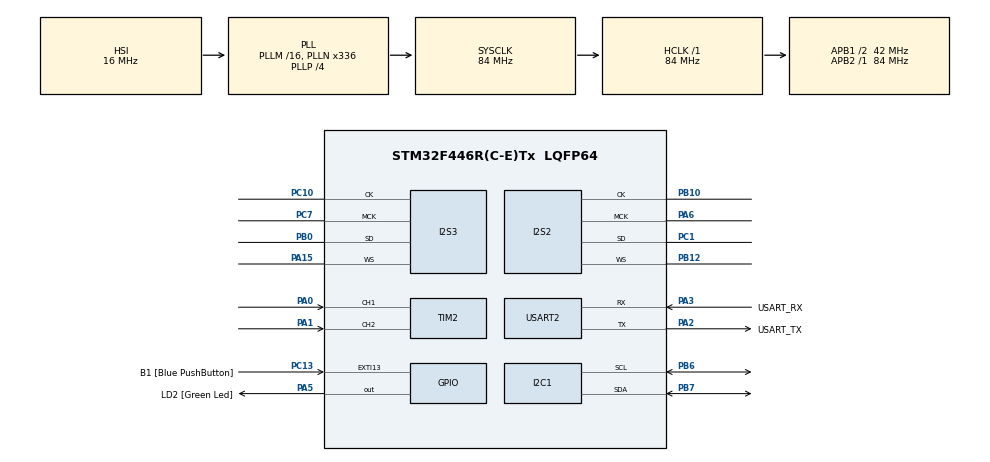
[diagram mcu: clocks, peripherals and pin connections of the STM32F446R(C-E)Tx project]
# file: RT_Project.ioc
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Dma.Request0=SPI2_RX
Dma.Request1=SPI3_TX
Dma.SPI2_RX.0.Direction=DMA_PERIPH_TO_MEMORY
Dma.SPI2_RX.0.FIFOMode=DMA_FIFOMODE_DISABLE
Dma.SPI2_RX.0.Instance=DMA1_Stream3
Dma.SPI2_RX.0.MemDataAlignment=DMA_MDATAALIGN_HALFWORD
Dma.SPI2_RX.0.MemInc=DMA_MINC_ENABLE
Dma.SPI2_RX.0.Mode=DMA_CIRCULAR
Dma.SPI2_RX.0.PeriphDataAlignment=DMA_PDATAALIGN_HALFWORD
Dma.SPI2_RX.0.PeriphInc=DMA_PINC_DISABLE
Dma.SPI2_RX.0.Priority=DMA_PRIORITY_LOW
Dma.SPI3_TX.1.Direction=DMA_MEMORY_TO_PERIPH
Dma.SPI3_TX.1.FIFOMode=DMA_FIFOMODE_DISABLE
Dma.SPI3_TX.1.Instance=DMA1_Stream5
Dma.SPI3_TX.1.MemDataAlignment=DMA_MDATAALIGN_HALFWORD
Dma.SPI3_TX.1.MemInc=DMA_MINC_ENABLE
Dma.SPI3_TX.1.Mode=DMA_CIRCULAR
Dma.SPI3_TX.1.PeriphDataAlignment=DMA_PDATAALIGN_HALFWORD
Dma.SPI3_TX.1.PeriphInc=DMA_PINC_DISABLE
Dma.SPI3_TX.1.Priority=DMA_PRIORITY_LOW
FREERTOS.BinarySemaphores01=myBinarySemHalf,Dynamic,NULL,Available;myBinarySemFull,Dynamic,NULL,Available
FREERTOS.Queues01=menuQueue,32,int,0,Dynamic,NULL,NULL
FREERTOS.Tasks01=defaultTask,24,128,StartDefaultTask,Default,NULL,Dynamic,NULL,NULL;printLCD_Task,24,128,StartTask02,Default,NULL,Dynamic,NULL,NULL;menu_Task,40,128,Start_Menu_Task,Default,NULL,Dynamic,NULL,NULL;Audio_Task,48,128,StartAudioTask,Default,NULL,Dynamic,NULL,NULL
FREERTOS.configENABLE_FPU=1
FREERTOS.configUSE_NEWLIB_REENTRANT=1
I2S2.AudioFreq=I2S_AUDIOFREQ_48K
I2S2.ErrorAudioFreq=-0.01 %
I2S2.FullDuplexMode=I2S_FULLDUPLEXMODE_DISABLE
I2S2.Instance=SPI$Index
I2S2.Mode=I2S_MODE_MASTER_RX
I2S2.RealAudioFreq=47.991 KHz
I2S2.VirtualMode=I2S_MODE_MASTER
I2S3.AudioFreq=I2S_AUDIOFREQ_48K
I2S3.ErrorAudioFreq=-0.01 %
I2S3.FullDuplexMode=I2S_FULLDUPLEXMODE_DISABLE
I2S3.Instance=SPI$Index
I2S3.RealAudioFreq=47.991 KHz
I2S3.VirtualMode=I2S_MODE_MASTER
Mcu.Family=STM32F4
Mcu.Name=STM32F446R(C-E)Tx
Mcu.Package=LQFP64
NVIC.DMA1_Stream3_IRQn=true\:5\:0\:false\:false\:true\:true\:false\:true\:true
NVIC.DMA1_Stream5_IRQn=true\:5\:0\:false\:false\:true\:true\:false\:true\:true
NVIC.EXTI15_10_IRQn=true\:5\:0\:false\:false\:true\:true\:true\:true\:true
NVIC.PriorityGroup=NVIC_PRIORITYGROUP_4
NVIC.TIM7_IRQn=true\:15\:0\:false\:false\:true\:false\:false\:true\:true
NVIC.TimeBase=TIM7_IRQn
NVIC.TimeBaseIP=TIM7
PA0-WKUP.GPIO_PuPd=GPIO_PULLUP
PA0-WKUP.Signal=S_TIM2_CH1_ETR
PA1.GPIO_PuPd=GPIO_PULLUP
PA1.Signal=S_TIM2_CH2
PA13.GPIO_Label=TMS
PA13.Mode=Serial_Wire
PA13.Signal=SYS_JTMS-SWDIO
PA14.GPIO_Label=TCK
PA14.Mode=Serial_Wire
PA14.Signal=SYS_JTCK-SWCLK
PA15.Mode=Half_Duplex_Master
PA15.Signal=I2S3_WS
PA2.GPIO_Label=USART_TX
PA2.Mode=Asynchronous
PA2.Signal=USART2_TX
PA3.GPIO_Label=USART_RX
PA3.Mode=Asynchronous
PA3.Signal=USART2_RX
PA5.GPIO_Label=LD2 [Green Led]
PA5.Signal=GPIO_Output
PA6.Mode=Master_Clock_Activated
PA6.Signal=I2S2_MCK
PB0.Mode=Half_Duplex_Master
PB0.Signal=I2S3_SD
PB10.Mode=Half_Duplex_Master
PB10.Signal=I2S2_CK
PB12.Mode=Half_Duplex_Master
PB12.Signal=I2S2_WS
PB3.GPIO_Label=SWO
PB3.Signal=SYS_JTDO-SWO
PB6.GPIO_Pu=GPIO_PULLUP
PB6.Mode=I2C
PB6.Signal=I2C1_SCL
PB7.GPIO_Pu=GPIO_PULLUP
PB7.Mode=I2C
PB7.Signal=I2C1_SDA
PC1.Mode=Half_Duplex_Master
PC1.Signal=I2S2_SD
PC10.Mode=Half_Duplex_Master
PC10.Signal=I2S3_CK
PC13.GPIO_Label=B1 [Blue PushButton]
PC13.GPIO_ModeDefaultEXTI=GPIO_MODE_IT_FALLING
PC13.Signal=GPXTI13
PC14-OSC32_IN.Mode=LSE-External-Oscillator
PC14-OSC32_IN.Signal=RCC_OSC32_IN
PC15-OSC32_OUT.Mode=LSE-External-Oscillator
PC15-OSC32_OUT.Signal=RCC_OSC32_OUT
PC7.Mode=Master_Clock_Activated
PC7.Signal=I2S3_MCK
PH0-OSC_IN.Mode=HSE-External-Oscillator
PH0-OSC_IN.Signal=RCC_OSC_IN
PH1-OSC_OUT.Mode=HSE-External-Oscillator
PH1-OSC_OUT.Signal=RCC_OSC_OUT
ProjectManager.HeapSize=0x200
ProjectManager.StackSize=0x400
ProjectManager.TargetToolchain=Makefile
RCC.48MHZClocksFreq_Value=84000000
RCC.AHBFreq_Value=84000000
RCC.APB1CLKDivider=RCC_HCLK_DIV2
RCC.APB1Freq_Value=42000000
RCC.APB1TimFreq_Value=84000000
RCC.APB2Freq_Value=84000000
RCC.APB2TimFreq_Value=84000000
RCC.CortexFreq_Value=84000000
RCC.FLatency-AdvancedSettings=FLASH_LATENCY_2
RCC.HCLKFreq_Value=84000000
RCC.HSE_VALUE=8000000
RCC.HSI_VALUE=16000000
RCC.PLLI2SN=430
RCC.PLLI2SR=5
RCC.PLLN=336
RCC.PLLP=RCC_PLLP_DIV4
RCC.SYSCLKFreq_VALUE=84000000
RCC.SYSCLKSource=RCC_SYSCLKSOURCE_PLLCLK
RCC.USBFreq_Value=168000000
RCC.VCOOutputFreq_Value=336000000
SH.S_TIM2_CH1_ETR.0=TIM2_CH1,Encoder_Interface
SH.S_TIM2_CH2.0=TIM2_CH2,Encoder_Interface
TIM2.EncoderMode=TIM_ENCODERMODE_TI12
USART2.VirtualMode=VM_ASYNC
VP_FREERTOS_VS_CMSIS_V2.Mode=CMSIS_V2
VP_SYS_VS_tim7.Mode=TIM7
board=NUCLEO-F446RE

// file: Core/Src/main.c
/* USER CODE BEGIN Header */
/**
  ******************************************************************************
  * @file           : main.c
  * @brief          : Main program body
  ******************************************************************************
  * @attention
  *
  * Copyright (c) 2025 STMicroelectronics.
  * All rights reserved.
  *
  * This software is licensed under terms that can be found in the LICENSE file
  * in the root directory of this software component.
  * If no LICENSE file comes with this software, it is provided AS-IS.
  *
  ******************************************************************************
  */
/* USER CODE END Header */
#include "main.h"
#include "cmsis_os.h"

/* USER CODE BEGIN Includes */
#include "lcd_st7032i.h"
#include <stdio.h>
#include "arm_math.h"

/* USER CODE END Includes */

/* USER CODE BEGIN PD */
#define NB_ETATS 2
#define BUFFER_SIZE 256
/* USER CODE END PD */

I2C_HandleTypeDef hi2c1;

I2S_HandleTypeDef hi2s2;
I2S_HandleTypeDef hi2s3;
DMA_HandleTypeDef hdma_spi2_rx;
DMA_HandleTypeDef hdma_spi3_tx;

TIM_HandleTypeDef htim2;

UART_HandleTypeDef huart2;

/* Definitions for defaultTask */
osThreadId_t defaultTaskHandle;
const osThreadAttr_t defaultTask_attributes = {
  .name = "defaultTask",
  .stack_size = 128 * 4,
  .priority = (osPriority_t) osPriorityNormal,
};
/* Definitions for printLCD_Task */
osThreadId_t printLCD_TaskHandle;
const osThreadAttr_t printLCD_Task_attributes = {
  .name = "printLCD_Task",
  .stack_size = 128 * 4,
  .priority = (osPriority_t) osPriorityNormal,
};
/* Definitions for menu_Task */
osThreadId_t menu_TaskHandle;
const osThreadAttr_t menu_Task_attributes = {
  .name = "menu_Task",
  .stack_size = 128 * 4,
  .priority = (osPriority_t) osPriorityHigh,
};
/* Definitions for Audio_Task */
osThreadId_t Audio_TaskHandle;
const osThreadAttr_t Audio_Task_attributes = {
  .name = "Audio_Task",
  .stack_size = 128 * 4,
  .priority = (osPriority_t) osPriorityRealtime,
};
/* Definitions for menuQueue */
osMessageQueueId_t menuQueueHandle;
const osMessageQueueAttr_t menuQueue_attributes = {
  .name = "menuQueue"
};
/* Definitions for myBinarySemHalf */
osSemaphoreId_t myBinarySemHalfHandle;
const osSemaphoreAttr_t myBinarySemHalf_attributes = {
  .name = "myBinarySemHalf"
};
/* Definitions for myBinarySemFull */
osSemaphoreId_t myBinarySemFullHandle;
const osSemaphoreAttr_t myBinarySemFull_attributes = {
  .name = "myBinarySemFull"
};
/* USER CODE BEGIN PV */
int16_t rxBuffer[BUFFER_SIZE];
int16_t txBuffer[BUFFER_SIZE];
int volume_level = 0;

/* USER CODE END PV */

void SystemClock_Config(void);
void PeriphCommonClock_Config(void);
static void MX_GPIO_Init(void);
static void MX_DMA_Init(void);
static void MX_I2C1_Init(void);
static void MX_USART2_UART_Init(void);
static void MX_TIM2_Init(void);
static void MX_I2S2_Init(void);
static void MX_I2S3_Init(void);
void StartDefaultTask(void *argument);
void StartTask02(void *argument);
void Start_Menu_Task(void *argument);
void StartAudioTask(void *argument);

int main(void)
{

  /* MCU Configuration--------------------------------------------------------*/

  /* Reset of all peripherals, Initializes the Flash interface and the Systick. */
  HAL_Init();

  /* Configure the system clock */
  SystemClock_Config();

  /* Configure the peripherals common clocks */
  PeriphCommonClock_Config();

  /* Initialize all configured peripherals */
  MX_GPIO_Init();
  MX_DMA_Init();
  MX_I2C1_Init();
  MX_USART2_UART_Init();
  MX_TIM2_Init();
  MX_I2S2_Init();
  MX_I2S3_Init();

  /* Init scheduler */
  osKernelInitialize();

  /* Create the semaphores(s) */
  /* creation of myBinarySemHalf */
  myBinarySemHalfHandle = osSemaphoreNew(1, 0, &myBinarySemHalf_attributes);

  /* creation of myBinarySemFull */
  myBinarySemFullHandle = osSemaphoreNew(1, 0, &myBinarySemFull_attributes);

  /* Create the queue(s) */
  /* creation of menuQueue */
  menuQueueHandle = osMessageQueueNew (32, sizeof(int), &menuQueue_attributes);

  /* Create the thread(s) */
  /* creation of defaultTask */
  defaultTaskHandle = osThreadNew(StartDefaultTask, NULL, &defaultTask_attributes);

  /* creation of printLCD_Task */
  printLCD_TaskHandle = osThreadNew(StartTask02, NULL, &printLCD_Task_attributes);

  /* creation of menu_Task */
  menu_TaskHandle = osThreadNew(Start_Menu_Task, NULL, &menu_Task_attributes);

  /* creation of Audio_Task */
  Audio_TaskHandle = osThreadNew(StartAudioTask, NULL, &Audio_Task_attributes);

  /* Start scheduler */
  osKernelStart();

  /* We should never get here as control is now taken by the scheduler */

  /* Infinite loop */
  while (1)
  {

  }
}

void SystemClock_Config(void)
{
  RCC_OscInitTypeDef RCC_OscInitStruct = {0};
  RCC_ClkInitTypeDef RCC_ClkInitStruct = {0};

  /** Configure the main internal regulator output voltage
  */
  __HAL_RCC_PWR_CLK_ENABLE();
  __HAL_PWR_VOLTAGESCALING_CONFIG(PWR_REGULATOR_VOLTAGE_SCALE3);

  /** Initializes the RCC Oscillators according to the specified parameters
  * in the RCC_OscInitTypeDef structure.
  */
  RCC_OscInitStruct.OscillatorType = RCC_OSCILLATORTYPE_HSI;
  RCC_OscInitStruct.HSIState = RCC_HSI_ON;
  RCC_OscInitStruct.HSICalibrationValue = RCC_HSICALIBRATION_DEFAULT;
  RCC_OscInitStruct.PLL.PLLState = RCC_PLL_ON;
  RCC_OscInitStruct.PLL.PLLSource = RCC_PLLSOURCE_HSI;
  RCC_OscInitStruct.PLL.PLLM = 16;
  RCC_OscInitStruct.PLL.PLLN = 336;
  RCC_OscInitStruct.PLL.PLLP = RCC_PLLP_DIV4;
  RCC_OscInitStruct.PLL.PLLQ = 2;
  RCC_OscInitStruct.PLL.PLLR = 2;
  if (HAL_RCC_OscConfig(&RCC_OscInitStruct) != HAL_OK)
  {
    Error_Handler();
  }

  /** Initializes the CPU, AHB and APB buses clocks
  */
  RCC_ClkInitStruct.ClockType = RCC_CLOCKTYPE_HCLK|RCC_CLOCKTYPE_SYSCLK
                              |RCC_CLOCKTYPE_PCLK1|RCC_CLOCKTYPE_PCLK2;
  RCC_ClkInitStruct.SYSCLKSource = RCC_SYSCLKSOURCE_PLLCLK;
  RCC_ClkInitStruct.AHBCLKDivider = RCC_SYSCLK_DIV1;
  RCC_ClkInitStruct.APB1CLKDivider = RCC_HCLK_DIV2;
  RCC_ClkInitStruct.APB2CLKDivider = RCC_HCLK_DIV1;

  if (HAL_RCC_ClockConfig(&RCC_ClkInitStruct, FLASH_LATENCY_2) != HAL_OK)
  {
    Error_Handler();
  }
}

void PeriphCommonClock_Config(void)
{
  RCC_PeriphCLKInitTypeDef PeriphClkInitStruct = {0};

  /** Initializes the peripherals clock
  */
  PeriphClkInitStruct.PeriphClockSelection = RCC_PERIPHCLK_I2S_APB1;
  PeriphClkInitStruct.PLLI2S.PLLI2SN = 430;
  PeriphClkInitStruct.PLLI2S.PLLI2SP = RCC_PLLI2SP_DIV2;
  PeriphClkInitStruct.PLLI2S.PLLI2SM = 16;
  PeriphClkInitStruct.PLLI2S.PLLI2SR = 5;
  PeriphClkInitStruct.PLLI2S.PLLI2SQ = 2;
  PeriphClkInitStruct.PLLI2SDivQ = 1;
  PeriphClkInitStruct.I2sApb1ClockSelection = RCC_I2SAPB1CLKSOURCE_PLLI2S;
  if (HAL_RCCEx_PeriphCLKConfig(&PeriphClkInitStruct) != HAL_OK)
  {
    Error_Handler();
  }
}

static void MX_I2C1_Init(void)
{

  hi2c1.Instance = I2C1;
  hi2c1.Init.ClockSpeed = 100000;
  hi2c1.Init.DutyCycle = I2C_DUTYCYCLE_2;
  hi2c1.Init.OwnAddress1 = 0;
  hi2c1.Init.AddressingMode = I2C_ADDRESSINGMODE_7BIT;
  hi2c1.Init.DualAddressMode = I2C_DUALADDRESS_DISABLE;
  hi2c1.Init.OwnAddress2 = 0;
  hi2c1.Init.GeneralCallMode = I2C_GENERALCALL_DISABLE;
  hi2c1.Init.NoStretchMode = I2C_NOSTRETCH_DISABLE;
  if (HAL_I2C_Init(&hi2c1) != HAL_OK)
  {
    Error_Handler();
  }

}

static void MX_I2S2_Init(void)
{

  hi2s2.Instance = SPI2;
  hi2s2.Init.Mode = I2S_MODE_MASTER_RX;
  hi2s2.Init.Standard = I2S_STANDARD_PHILIPS;
  hi2s2.Init.DataFormat = I2S_DATAFORMAT_16B;
  hi2s2.Init.MCLKOutput = I2S_MCLKOUTPUT_ENABLE;
  hi2s2.Init.AudioFreq = I2S_AUDIOFREQ_48K;
  hi2s2.Init.CPOL = I2S_CPOL_LOW;
  hi2s2.Init.ClockSource = I2S_CLOCK_PLL;
  hi2s2.Init.FullDuplexMode = I2S_FULLDUPLEXMODE_DISABLE;
  if (HAL_I2S_Init(&hi2s2) != HAL_OK)
  {
    Error_Handler();
  }

}

static void MX_I2S3_Init(void)
{

  hi2s3.Instance = SPI3;
  hi2s3.Init.Mode = I2S_MODE_MASTER_TX;
  hi2s3.Init.Standard = I2S_STANDARD_PHILIPS;
  hi2s3.Init.DataFormat = I2S_DATAFORMAT_16B;
  hi2s3.Init.MCLKOutput = I2S_MCLKOUTPUT_ENABLE;
  hi2s3.Init.AudioFreq = I2S_AUDIOFREQ_48K;
  hi2s3.Init.CPOL = I2S_CPOL_LOW;
  hi2s3.Init.ClockSource = I2S_CLOCK_PLL;
  hi2s3.Init.FullDuplexMode = I2S_FULLDUPLEXMODE_DISABLE;
  if (HAL_I2S_Init(&hi2s3) != HAL_OK)
  {
    Error_Handler();
  }

}

static void MX_TIM2_Init(void)
{

  TIM_Encoder_InitTypeDef sConfig = {0};
  TIM_MasterConfigTypeDef sMasterConfig = {0};

  htim2.Instance = TIM2;
  htim2.Init.Prescaler = 0;
  htim2.Init.CounterMode = TIM_COUNTERMODE_UP;
  htim2.Init.Period = 4294967295;
  htim2.Init.ClockDivision = TIM_CLOCKDIVISION_DIV1;
  htim2.Init.AutoReloadPreload = TIM_AUTORELOAD_PRELOAD_DISABLE;
  sConfig.EncoderMode = TIM_ENCODERMODE_TI12;
  sConfig.IC1Polarity = TIM_ICPOLARITY_RISING;
  sConfig.IC1Selection = TIM_ICSELECTION_DIRECTTI;
  sConfig.IC1Prescaler = TIM_ICPSC_DIV1;
  sConfig.IC1Filter = 0;
  sConfig.IC2Polarity = TIM_ICPOLARITY_RISING;
  sConfig.IC2Selection = TIM_ICSELECTION_DIRECTTI;
  sConfig.IC2Prescaler = TIM_ICPSC_DIV1;
  sConfig.IC2Filter = 0;
  if (HAL_TIM_Encoder_Init(&htim2, &sConfig) != HAL_OK)
  {
    Error_Handler();
  }
  sMasterConfig.MasterOutputTrigger = TIM_TRGO_RESET;
  sMasterConfig.MasterSlaveMode = TIM_MASTERSLAVEMODE_DISABLE;
  if (HAL_TIMEx_MasterConfigSynchronization(&htim2, &sMasterConfig) != HAL_OK)
  {
    Error_Handler();
  }

}

static void MX_USART2_UART_Init(void)
{

  huart2.Instance = USART2;
  huart2.Init.BaudRate = 115200;
  huart2.Init.WordLength = UART_WORDLENGTH_8B;
  huart2.Init.StopBits = UART_STOPBITS_1;
  huart2.Init.Parity = UART_PARITY_NONE;
  huart2.Init.Mode = UART_MODE_TX_RX;
  huart2.Init.HwFlowCtl = UART_HWCONTROL_NONE;
  huart2.Init.OverSampling = UART_OVERSAMPLING_16;
  if (HAL_UART_Init(&huart2) != HAL_OK)
  {
    Error_Handler();
  }

}

static void MX_DMA_Init(void)
{

  /* DMA controller clock enable */
  __HAL_RCC_DMA1_CLK_ENABLE();

  /* DMA interrupt init */
  /* DMA1_Stream3_IRQn interrupt configuration */
  HAL_NVIC_SetPriority(DMA1_Stream3_IRQn, 5, 0);
  HAL_NVIC_EnableIRQ(DMA1_Stream3_IRQn);
  /* DMA1_Stream5_IRQn interrupt configuration */
  HAL_NVIC_SetPriority(DMA1_Stream5_IRQn, 5, 0);
  HAL_NVIC_EnableIRQ(DMA1_Stream5_IRQn);

}

static void MX_GPIO_Init(void)
{
  GPIO_InitTypeDef GPIO_InitStruct = {0};

  /* GPIO Ports Clock Enable */
  __HAL_RCC_GPIOC_CLK_ENABLE();
  __HAL_RCC_GPIOH_CLK_ENABLE();
  __HAL_RCC_GPIOA_CLK_ENABLE();
  __HAL_RCC_GPIOB_CLK_ENABLE();

  /*Configure GPIO pin Output Level */
  HAL_GPIO_WritePin(LD2_GPIO_Port, LD2_Pin, GPIO_PIN_RESET);

  /*Configure GPIO pin : B1_Pin */
  GPIO_InitStruct.Pin = B1_Pin;
  GPIO_InitStruct.Mode = GPIO_MODE_IT_FALLING;
  GPIO_InitStruct.Pull = GPIO_NOPULL;
  HAL_GPIO_Init(B1_GPIO_Port, &GPIO_InitStruct);

  /*Configure GPIO pin : LD2_Pin */
  GPIO_InitStruct.Pin = LD2_Pin;
  GPIO_InitStruct.Mode = GPIO_MODE_OUTPUT_PP;
  GPIO_InitStruct.Pull = GPIO_NOPULL;
  GPIO_InitStruct.Speed = GPIO_SPEED_FREQ_LOW;
  HAL_GPIO_Init(LD2_GPIO_Port, &GPIO_InitStruct);

  /* EXTI interrupt init*/
  HAL_NVIC_SetPriority(EXTI15_10_IRQn, 5, 0);
  HAL_NVIC_EnableIRQ(EXTI15_10_IRQn);

}

/* USER CODE BEGIN 4 */
void HAL_GPIO_EXTI_Callback ( uint16_t GPIO_Pin ){
	if(GPIO_Pin == B1_Pin){
		//osSemaphoreRelease(semButtonEchoHandle);
		HAL_GPIO_TogglePin ( LD2_GPIO_Port , LD2_Pin );
		__HAL_TIM_SET_COUNTER(&htim2, 0);
	}
}

void HAL_I2S_RxHalfCpltCallback(I2S_HandleTypeDef *hi2s)
{
  if(hi2s->Instance == SPI2) {
    osSemaphoreRelease(myBinarySemHalfHandle);
  }
}

void HAL_I2S_RxCpltCallback(I2S_HandleTypeDef *hi2s)
{
  if(hi2s->Instance == SPI2) {
    osSemaphoreRelease(myBinarySemFullHandle);
  }
}

/* USER CODE END 4 */

void StartDefaultTask(void *argument)
{
  for(;;)
  {
    osDelay(1);
  }
}

void StartTask02(void *argument)
{
  /* USER CODE BEGIN StartTask02 */

  //Dans cete tache on affiche l'état du menu

  // Initialisation LCD
	lcd_init(hi2c1);
	lcd_put_cursor(0,0);
	lcd_clear();
  int etat_menu = 1;
  int volume_power;
  char lcdtext[16];
  char lcdtext2[16];

  /* Infinite loop */
  for(;;)
  {
    //VERSION MENU

    osDelay(50);

    //AFF MENU
    lcd_clear();
    sprintf(lcdtext, "%d", etat_menu);
    lcd_put_cursor(0,0);
    lcd_write("Menu : ");
    lcd_write(lcdtext);

    //MENU 1 :
    if(etat_menu == 1 ){
      volume_power = 1<<volume_level;
      snprintf(lcdtext2,16,"+%i",volume_power);
      lcd_put_cursor(1,0);
      lcd_write("Volume : ");
      lcd_write(lcdtext2);
    }

    // osMessageQueueGet(menuQueueHandle,&etat_menu,NULL,osWaitForever);

    // //AFF MENU
    // lcd_clear();
    // sprintf(lcdtext, "%d", etat_menu);
    // lcd_put_cursor(0,0);
    // lcd_write("Menu : ");
    // lcd_write(lcdtext);

    // //MENU 1 :
    // if(etat_menu == 1 ){
    //   volume_power = 1<<volume_level;
    //   snprintf(lcdtext2,16,"%i",volume_power);
    //   lcd_put_cursor(1,0);
    //   lcd_write("Volume : ");
    //   lcd_write(lcdtext2);
    // }

    // //MENU 2 :
    // if(etat_menu == 2 ){
    //   lcd_put_cursor(1,0);
    //   lcd_write("Rien");
    // }

  }
  /* USER CODE END StartTask02 */
}

void Start_Menu_Task(void *argument)
{
  /* USER CODE BEGIN Start_Menu_Task */

  //ICI gestion de l'encodeur et envoi de l'état dans la queue
	HAL_TIM_Encoder_Start(&htim2, 1);

	int16_t cpt;
  int16_t cpt_old=0;

  /* Infinite loop */
  for(;;)
  {
    int16_t raw_counter = (int16_t)__HAL_TIM_GET_COUNTER(&htim2);
    cpt = raw_counter / 4;

    volume_level = cpt;

    //graphe detat
    if(cpt != cpt_old){
      osMessageQueueReset(menuQueueHandle);
      osMessageQueuePut(menuQueueHandle,&volume_level,1,osWaitForever);
      cpt_old = cpt;
    }
    // osThreadYield();
    osDelay(1);
  }

  // VERSION AVEC MENU
  // int state = 1;  //etat 1 par defaut
  // int prev_state = 1;

  // /* Infinite loop */
  // for(;;)
  // {
  //   int16_t raw_counter = (int16_t)__HAL_TIM_GET_COUNTER(&htim2);
  //   cpt = raw_counter / 4;
  //   //graphe detat
  //   if(cpt != cpt_old){
  //     //Changement d'état

  //     int raw_val = (cpt % NB_ETATS);
  //     if (raw_val < 0) raw_val += NB_ETATS;

  //     state = raw_val + 1;
  //     if (state != prev_state){
  //       osMessageQueueReset(menuQueueHandle);
  //       osMessageQueuePut(menuQueueHandle,&state,1,999999);
  //       prev_state = state;
  //     }
  //     cpt_old = cpt;
  //   }
  //   osDelay(1);
  // }

  /* USER CODE END Start_Menu_Task */
}

void StartAudioTask(void *argument)
{
  /* USER CODE BEGIN StartAudioTask */
  HAL_I2S_Receive_DMA(&hi2s2, (uint16_t *)rxBuffer, BUFFER_SIZE);
  HAL_I2S_Transmit_DMA(&hi2s3, (uint16_t *)txBuffer, BUFFER_SIZE);

  float x;
  float x1;
  float x2;
  q15_t xf;
  q15_t x1f;
  q15_t x2f;

  float y;
  float y1;
  float y2;
  q15_t yf;
  q15_t y1f;
  q15_t y2f;

  float b0 = 0.001023211f;
  float b1 = 0.002046422f;
  float b2 = 0.001023211f;
  q15_t b0f;
  q15_t b1f;
  q15_t b2f;
  arm_float_to_q15(b0, b0f);
  arm_float_to_q15(b1, b1f);
  arm_float_to_q15(b2, b2f);

  float a0 = 1.0f;
  float a1 = -1.907f;
  float a2 = 0.911f;
  q15_t a1f;
  q15_t a2f;
  arm_float_to_q15(a1, a1f);
  arm_float_to_q15(a2, a2f);

  const q15_t MAX_VAL = 1.0;
  const q15_t MIN_VAL = -1.0;

  int volume;

  /* Infinite loop */
  for(;;)
  {
    if(osMessageQueueGet(menuQueueHandle,&volume,NULL,0) == osOK){
      //maj vol
    }

    if (osSemaphoreAcquire(myBinarySemHalfHandle, osWaitForever) == osOK){
      for (int i = 0; i < BUFFER_SIZE / 2; i+=2) {
        //recup valeurs
        x = (float)((int16_t)rxBuffer[i]);
        arm_float_to_q15(x, xf);
        yf = b0f * xf + b1f * x1f + b2f * x2f - a1f * y1f - a2f * y2f;

        if (yf > MAX_VAL) yf = MAX_VAL;
        else if (yf < MIN_VAL) yf = MIN_VAL;

        //saturation
        if (yf > 1.0) yf = 1.0;
        if (yf < -1.0) yf = -1.0;

        //passage en mono
        txBuffer[i] = (int16_t)yf;
        txBuffer[i+1] = (int16_t)yf;

        //maj memoires
        x2f = x1f;
        x1f = xf;
        y2f = y1f;
        y1f = yf;
      }
    }

    if (osSemaphoreAcquire(myBinarySemFullHandle, osWaitForever) == osOK){
      for (int i = BUFFER_SIZE / 2; i < BUFFER_SIZE; i+=2) {
        //recup valeurs
        x = (float)((int16_t)rxBuffer[i]);
        arm_float_to_q15(x, xf);
        yf = b0f * xf + b1f * x1f + b2f * x2f - a1f * y1f - a2f * y2f;

        if (yf > MAX_VAL) yf = MAX_VAL;
        else if (yf < MIN_VAL) yf = MIN_VAL;

        //saturation
        if (yf > 1.0) yf = 1.0;
        if (yf < -1.0) yf = -1.0;

        //passage en mono
        txBuffer[i] = (int16_t)yf;
        txBuffer[i+1] = (int16_t)yf;

        //maj memoires
        x2f = x1f;
        x1f = xf;
        y2f = y1f;
        y1f = yf;
      }
    }
  }
  /* USER CODE END StartAudioTask */
}

void HAL_TIM_PeriodElapsedCallback(TIM_HandleTypeDef *htim)
{
  if (htim->Instance == TIM7)
  {
    HAL_IncTick();
  }
}

void Error_Handler(void)
{
  __disable_irq();
  while (1)
  {
  }
}
